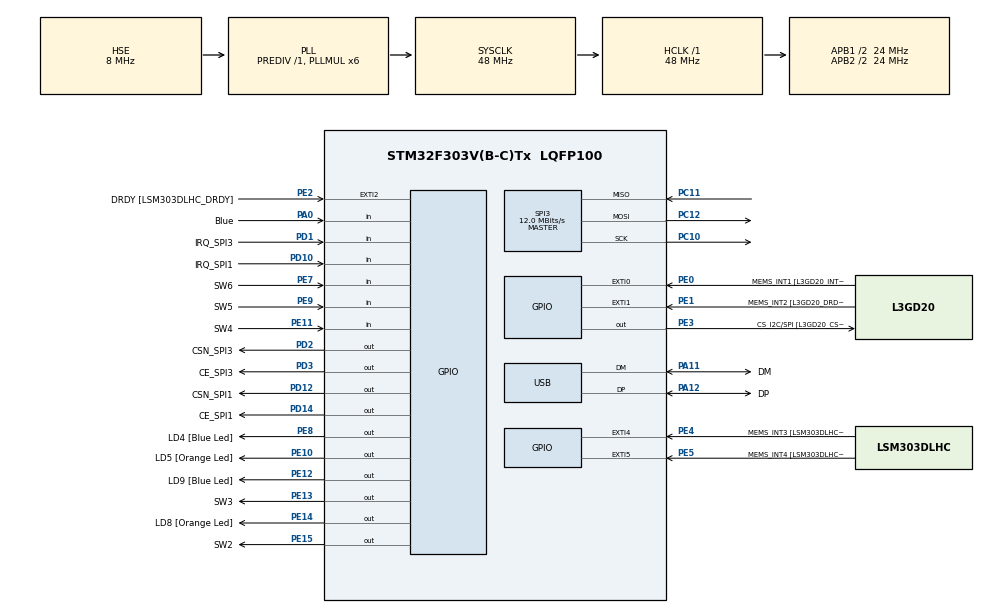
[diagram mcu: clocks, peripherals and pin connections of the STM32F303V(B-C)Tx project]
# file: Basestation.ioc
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Mcu.Family=STM32F3
Mcu.Name=STM32F303V(B-C)Tx
Mcu.Package=LQFP100
NVIC.PriorityGroup=NVIC_PRIORITYGROUP_0
NVIC.USB_LP_CAN_RX0_IRQn=true\:0\:0\:false\:false\:true\:true
PA0.GPIO_Label=Blue
PA0.Signal=GPIO_Input
PA11.GPIO_Label=DM
PA11.Mode=Device
PA11.Signal=USB_DM
PA12.GPIO_Label=DP
PA12.Mode=Device
PA12.Signal=USB_DP
PA13.GPIO_Label=SWDIO
PA13.Signal=SYS_JTMS-SWDIO
PA14.GPIO_Label=SWCLK
PA14.Signal=SYS_JTCK-SWCLK
PA5.GPIO_Label=SPI1_SCK [L3GD20_SCL/SPC]
PA5.GPIO_Mode=GPIO_MODE_AF_PP
PA5.GPIO_PuPd=GPIO_NOPULL
PA5.GPIO_Speed=GPIO_SPEED_FREQ_LOW
PA5.Signal=SPI1_SCK
PA6.GPIO_Label=SPI1_MISO [L3GD20_SA0/SDO]
PA6.GPIO_Mode=GPIO_MODE_AF_PP
PA6.GPIO_PuPd=GPIO_NOPULL
PA6.GPIO_Speed=GPIO_SPEED_FREQ_LOW
PA6.Signal=SPI1_MISO
PA7.GPIO_Label=SPI1_MOSI [L3GD20_SDA/SDI/SDO]
PA7.GPIO_Mode=GPIO_MODE_AF_PP
PA7.GPIO_PuPd=GPIO_NOPULL
PA7.GPIO_Speed=GPIO_SPEED_FREQ_LOW
PA7.Signal=SPI1_MOSI
PB3.GPIO_Label=SWO
PB3.Signal=SYS_JTDO-TRACESWO
PB6.GPIO_FM6=__NULL
PB6.GPIO_Label=I2C1_SCL [LSM303DLHC_SCL]
PB6.GPIO_Mode=GPIO_MODE_AF_OD
PB6.GPIO_PuPd=GPIO_NOPULL
PB6.GPIO_Speed=GPIO_SPEED_FREQ_LOW
PB6.Signal=I2C1_SCL
PB7.GPIO_FM7=__NULL
PB7.GPIO_Label=I2C1_SDA [LSM303DLHC_SDA]
PB7.GPIO_Mode=GPIO_MODE_AF_OD
PB7.GPIO_PuPd=GPIO_NOPULL
PB7.GPIO_Speed=GPIO_SPEED_FREQ_LOW
PB7.Signal=I2C1_SDA
PC10.Mode=Full_Duplex_Master
PC10.Signal=SPI3_SCK
PC11.Mode=Full_Duplex_Master
PC11.Signal=SPI3_MISO
PC12.Mode=Full_Duplex_Master
PC12.Signal=SPI3_MOSI
PC14-OSC32_IN.GPIO_Label=OSC32_IN
PC14-OSC32_IN.Signal=RCC_OSC32_IN
PC15-OSC32_OUT.GPIO_Label=OSC32_OUT
PC15-OSC32_OUT.Signal=RCC_OSC32_OUT
PD1.GPIO_Label=IRQ_SPI3
PD1.Signal=GPIO_Input
PD10.GPIO_Label=IRQ_SPI1
PD10.Signal=GPIO_Input
PD12.GPIO_Label=CSN_SPI1
PD12.Signal=GPIO_Output
PD14.GPIO_Label=CE_SPI1
PD14.Signal=GPIO_Output
PD2.GPIO_Label=CSN_SPI3
PD2.Signal=GPIO_Output
PD3.GPIO_Label=CE_SPI3
PD3.Signal=GPIO_Output
PE0.GPIO_Label=MEMS_INT1 [L3GD20_INT1]
PE0.GPIO_ModeDefaultEXTI=GPIO_MODE_EVT_RISING
PE0.GPIO_PuPd=GPIO_NOPULL
PE0.Signal=GPXTI0
PE1.GPIO_Label=MEMS_INT2 [L3GD20_DRDY/INT2]
PE1.GPIO_ModeDefaultEXTI=GPIO_MODE_EVT_RISING
PE1.GPIO_PuPd=GPIO_NOPULL
PE1.Signal=GPXTI1
PE10.GPIO_Label=LD5 [Orange Led]
PE10.GPIO_ModeDefaultOutputPP=GPIO_MODE_OUTPUT_PP
PE10.GPIO_PuPd=GPIO_NOPULL
PE10.GPIO_Speed=GPIO_SPEED_FREQ_LOW
PE10.Signal=GPIO_Output
PE11.GPIO_Label=SW4
PE11.Signal=GPIO_Input
PE12.GPIO_Label=LD9 [Blue Led]
PE12.GPIO_ModeDefaultOutputPP=GPIO_MODE_OUTPUT_PP
PE12.GPIO_PuPd=GPIO_NOPULL
PE12.GPIO_Speed=GPIO_SPEED_FREQ_LOW
PE12.Signal=GPIO_Output
PE13.GPIO_Label=SW3
PE13.GPIO_ModeDefaultOutputPP=GPIO_MODE_OUTPUT_PP
PE13.GPIO_PuPd=GPIO_NOPULL
PE13.GPIO_Speed=GPIO_SPEED_FREQ_LOW
PE13.Signal=GPIO_Output
PE14.GPIO_Label=LD8 [Orange Led]
PE14.GPIO_ModeDefaultOutputPP=GPIO_MODE_OUTPUT_PP
PE14.GPIO_PuPd=GPIO_NOPULL
PE14.GPIO_Speed=GPIO_SPEED_FREQ_LOW
PE14.Signal=GPIO_Output
PE15.GPIO_Label=SW2
PE15.GPIO_ModeDefaultOutputPP=GPIO_MODE_OUTPUT_PP
PE15.GPIO_PuPd=GPIO_NOPULL
PE15.GPIO_Speed=GPIO_SPEED_FREQ_LOW
PE15.Signal=GPIO_Output
PE2.GPIO_Label=DRDY [LSM303DLHC_DRDY]
PE2.GPIO_ModeDefaultEXTI=GPIO_MODE_EVT_RISING
PE2.GPIO_PuPd=GPIO_NOPULL
PE2.Signal=GPXTI2
PE3.GPIO_Label=CS_I2C/SPI [L3GD20_CS_I2C/SPI]
PE3.GPIO_ModeDefaultOutputPP=GPIO_MODE_OUTPUT_PP
PE3.GPIO_PuPd=GPIO_NOPULL
PE3.GPIO_Speed=GPIO_SPEED_FREQ_LOW
PE3.Signal=GPIO_Output
PE4.GPIO_Label=MEMS_INT3 [LSM303DLHC_INT1]
PE4.GPIO_ModeDefaultEXTI=GPIO_MODE_EVT_RISING
PE4.GPIO_PuPd=GPIO_NOPULL
PE4.Signal=GPXTI4
PE5.GPIO_Label=MEMS_INT4 [LSM303DLHC_INT2]
PE5.GPIO_ModeDefaultEXTI=GPIO_MODE_EVT_RISING
PE5.GPIO_PuPd=GPIO_NOPULL
PE5.Signal=GPXTI5
PE7.GPIO_Label=SW6
PE7.Signal=GPIO_Input
PE8.GPIO_Label=LD4 [Blue Led]
PE8.GPIO_ModeDefaultOutputPP=GPIO_MODE_OUTPUT_PP
PE8.GPIO_PuPd=GPIO_NOPULL
PE8.GPIO_Speed=GPIO_SPEED_FREQ_LOW
PE8.Signal=GPIO_Output
PE9.GPIO_Label=SW5
PE9.Signal=GPIO_Input
PF0-OSC_IN.GPIO_Label=OSC_IN
PF0-OSC_IN.Mode=HSE-External-Clock-Source
PF0-OSC_IN.Signal=RCC_OSC_IN
PF1-OSC_OUT.GPIO_Label=OSC_OUT
PF1-OSC_OUT.Signal=RCC_OSC_OUT
ProjectManager.HeapSize=0x200
ProjectManager.StackSize=0x400
ProjectManager.TargetToolchain=SW4STM32
RCC.AHBFreq_Value=48000000
RCC.APB1CLKDivider=RCC_HCLK_DIV2
RCC.APB1Freq_Value=24000000
RCC.APB1TimFreq_Value=48000000
RCC.APB2CLKDivider=RCC_HCLK_DIV2
RCC.APB2Freq_Value=24000000
RCC.APB2TimFreq_Value=48000000
RCC.CortexFreq_Value=48000000
RCC.HCLKFreq_Value=48000000
RCC.HSE_VALUE=8000000
RCC.HSI_VALUE=8000000
RCC.LSE_VALUE=32768
RCC.PLLMUL=RCC_PLL_MUL6
RCC.SYSCLKFreq_VALUE=48000000
RCC.SYSCLKSourceVirtual=RCC_SYSCLKSOURCE_PLLCLK
RCC.USBFreq_Value=48000000
SPI3.BaudRatePrescaler=SPI_BAUDRATEPRESCALER_2
SPI3.CalculateBaudRate=12.0 MBits/s
SPI3.DataSize=SPI_DATASIZE_8BIT
SPI3.Direction=SPI_DIRECTION_2LINES
SPI3.Mode=SPI_MODE_MASTER
SPI3.VirtualType=VM_MASTER
USB_DEVICE.CLASS_NAME_FS=CDC
USB_DEVICE.USBD_HandleTypeDef=hUsbDeviceFS
USB_DEVICE.VirtualMode=Cdc
USB_DEVICE.VirtualModeFS=Cdc_FS
VP_USB_DEVICE_VS_USB_DEVICE_CDC_FS.Mode=CDC_FS
board=STM32F3DISCOVERY

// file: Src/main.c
/**
  ******************************************************************************
  * @file           : main.c
  * @brief          : Main program body
  ******************************************************************************
  * This notice applies to any and all portions of this file
  * that are not between comment pairs USER CODE BEGIN and
  * USER CODE END. Other portions of this file, whether
  * inserted by the user or by software development tools
  * are owned by their respective copyright owners.
  *
  * Copyright (c) 2018 STMicroelectronics International N.V.
  * All rights reserved.
  *
  * Redistribution and use in source and binary forms, with or without
  * modification, are permitted, provided that the following conditions are met:
  *
  * 1. Redistribution of source code must retain the above copyright notice,
  *    this list of conditions and the following disclaimer.
  * 2. Redistributions in binary form must reproduce the above copyright notice,
  *    this list of conditions and the following disclaimer in the documentation
  *    and/or other materials provided with the distribution.
  * 3. Neither the name of STMicroelectronics nor the names of other
  *    contributors to this software may be used to endorse or promote products
  *    derived from this software without specific written permission.
  * 4. This software, including modifications and/or derivative works of this
  *    software, must execute solely and exclusively on microcontroller or
  *    microprocessor devices manufactured by or for STMicroelectronics.
  * 5. Redistribution and use of this software other than as permitted under
  *    this license is void and will automatically terminate your rights under
  *    this license.
  *
  * THIS SOFTWARE IS PROVIDED BY STMICROELECTRONICS AND CONTRIBUTORS "AS IS"
  * AND ANY EXPRESS, IMPLIED OR STATUTORY WARRANTIES, INCLUDING, BUT NOT
  * LIMITED TO, THE IMPLIED WARRANTIES OF MERCHANTABILITY, FITNESS FOR A
  * PARTICULAR PURPOSE AND NON-INFRINGEMENT OF THIRD PARTY INTELLECTUAL PROPERTY
  * RIGHTS ARE DISCLAIMED TO THE FULLEST EXTENT PERMITTED BY LAW. IN NO EVENT
  * SHALL STMICROELECTRONICS OR CONTRIBUTORS BE LIABLE FOR ANY DIRECT, INDIRECT,
  * INCIDENTAL, SPECIAL, EXEMPLARY, OR CONSEQUENTIAL DAMAGES (INCLUDING, BUT NOT
  * LIMITED TO, PROCUREMENT OF SUBSTITUTE GOODS OR SERVICES; LOSS OF USE, DATA,
  * OR PROFITS; OR BUSINESS INTERRUPTION) HOWEVER CAUSED AND ON ANY THEORY OF
  * LIABILITY, WHETHER IN CONTRACT, STRICT LIABILITY, OR TORT (INCLUDING
  * NEGLIGENCE OR OTHERWISE) ARISING IN ANY WAY OUT OF THE USE OF THIS SOFTWARE,
  * EVEN IF ADVISED OF THE POSSIBILITY OF SUCH DAMAGE.
  *
  ******************************************************************************
  */
#include "main.h"
#include "stm32f3xx_hal.h"
#include "spi.h"
#include "usb_device.h"
#include "gpio.h"

/* USER CODE BEGIN Includes */
#include "myNRF24.h"
#include "basestationNRF24.h"
#include "TextOut.h"
#include "packing.h"
#include "discoveryboard.h"

#include "packing.h"
#include "test_packing.h"
#include "test_packetSending.h"

/* USER CODE END Includes */

/* USER CODE BEGIN PV */
/* Private variables ---------------------------------------------------------*/

/* USER CODE END PV */

void SystemClock_Config(void);

/* USER CODE BEGIN PFP */
/* Private function prototypes -----------------------------------------------*/

/* USER CODE END PFP */

/* USER CODE BEGIN 0 */
void tacticsCommTestLoop() {
	roboData debugRoboData;
	uint8_t debugRoboPacket[ROBOPKTLEN];

	packetToRoboData(usbData, &debugRoboData);
/*	debugRoboData.id = 10; //robot 10
	debugRoboData.rho = 1;
	debugRoboData.theta = 2;
	debugRoboData.driving_reference = 0;
	debugRoboData.use_cam_info = 0;
	debugRoboData.velocity_angular = 4;
	debugRoboData.debug_info = !debugRoboData.debug_info;
	debugRoboData.do_kick = 1;
	debugRoboData.do_chip = 0;
	debugRoboData.kick_chip_forced = 1;
	debugRoboData.kick_chip_power = 0;
	debugRoboData.velocity_dribbler = 15;
	debugRoboData.geneva_drive_state = 3;
	debugRoboData.cam_position_x = 1;
	debugRoboData.cam_position_y = 2;
	debugRoboData.cam_rotation = 3;*/
	//sprintf(smallStrBuffer,"id: %i\n",debugRoboData.id);
	robotDataToPacket(&debugRoboData, debugRoboPacket);
	sendPacket(debugRoboPacket);

	//we need to know to which Robot the PC wanted to send.
	//we could convert the whole array to a RobotData struct,
	//but for performance reasons we just use bitshifting, implying our packet format.
	uint8_t robotToSendTo = usbData[0] >> 3;
	//getAndProcessAck(robotToSendTo);
	clearInterrupts();
	//HAL_Delay(10);

}

void dummyTestLoop() {
	roboData debugRoboData;
	uint8_t debugRoboPacket[ROBOPKTLEN];

	debugRoboData.id = 10; //robot 10
	debugRoboData.rho = 1;
	debugRoboData.theta = 2;
	debugRoboData.driving_reference = 0;
	debugRoboData.use_cam_info = 0;
	debugRoboData.velocity_angular = 4;
	debugRoboData.debug_info = !debugRoboData.debug_info;
	debugRoboData.do_kick = 1;
	debugRoboData.do_chip = 0;
	debugRoboData.kick_chip_forced = 1;
	debugRoboData.kick_chip_power = 0;
	debugRoboData.velocity_dribbler = 15;
	debugRoboData.geneva_drive_state = 3;
	debugRoboData.cam_position_x = 1;
	debugRoboData.cam_position_y = 2;
	debugRoboData.cam_rotation = 3;
	sprintf(smallStrBuffer,"id: %i\n",debugRoboData.id);
	robotDataToPacket(&debugRoboData, debugRoboPacket);
	sendPacket(debugRoboPacket);

	//we need to know to which Robot the PC wanted to send.
	//we could convert the whole array to a RobotData struct,
	//but for performance reasons we just use bitshifting, implying our packet format.
	uint8_t robotToSendTo = 10;
	getAndProcessAck(robotToSendTo);
	HAL_Delay(50);

}
/* USER CODE END 0 */

int main(void)
{

  /* MCU Configuration----------------------------------------------------------*/

  /* Reset of all peripherals, Initializes the Flash interface and the Systick. */
  HAL_Init();

  /* Configure the system clock */
  SystemClock_Config();

  /* Initialize all configured peripherals */
  MX_GPIO_Init();
  MX_SPI3_Init();
  MX_USB_DEVICE_Init();
  /* USER CODE BEGIN 2 */

	//Initializing the nRF module for wireless communication
	initBase(&hspi3, 78);
  /* USER CODE END 2 */

  /* Infinite loop */
  /* USER CODE BEGIN WHILE */

	//Apparently we need to wait about 20 seconds after connecting the bastation
	//Only then we would receive data without dropping anything.
	//This only applies to some systems (Ubuntu Linux) but not all (works on Windows without warm-up).

	HAL_Delay(1000);

	while (1)
	{
		//dummyTestLoop();
		if(usbLength == ROBOPKTLEN){
			tacticsCommTestLoop();
			usbLength = 0;
		}

  /* USER CODE END WHILE */

	}

}

void SystemClock_Config(void)
{

  RCC_OscInitTypeDef RCC_OscInitStruct;
  RCC_ClkInitTypeDef RCC_ClkInitStruct;
  RCC_PeriphCLKInitTypeDef PeriphClkInit;

    /**Initializes the CPU, AHB and APB busses clocks
    */
  RCC_OscInitStruct.OscillatorType = RCC_OSCILLATORTYPE_HSE;
  RCC_OscInitStruct.HSEState = RCC_HSE_BYPASS;
  RCC_OscInitStruct.HSEPredivValue = RCC_HSE_PREDIV_DIV1;
  RCC_OscInitStruct.HSIState = RCC_HSI_ON;
  RCC_OscInitStruct.PLL.PLLState = RCC_PLL_ON;
  RCC_OscInitStruct.PLL.PLLSource = RCC_PLLSOURCE_HSE;
  RCC_OscInitStruct.PLL.PLLMUL = RCC_PLL_MUL6;
  if (HAL_RCC_OscConfig(&RCC_OscInitStruct) != HAL_OK)
  {
    _Error_Handler(__FILE__, __LINE__);
  }

    /**Initializes the CPU, AHB and APB busses clocks
    */
  RCC_ClkInitStruct.ClockType = RCC_CLOCKTYPE_HCLK|RCC_CLOCKTYPE_SYSCLK
                              |RCC_CLOCKTYPE_PCLK1|RCC_CLOCKTYPE_PCLK2;
  RCC_ClkInitStruct.SYSCLKSource = RCC_SYSCLKSOURCE_PLLCLK;
  RCC_ClkInitStruct.AHBCLKDivider = RCC_SYSCLK_DIV1;
  RCC_ClkInitStruct.APB1CLKDivider = RCC_HCLK_DIV2;
  RCC_ClkInitStruct.APB2CLKDivider = RCC_HCLK_DIV2;

  if (HAL_RCC_ClockConfig(&RCC_ClkInitStruct, FLASH_LATENCY_1) != HAL_OK)
  {
    _Error_Handler(__FILE__, __LINE__);
  }

  PeriphClkInit.PeriphClockSelection = RCC_PERIPHCLK_USB;
  PeriphClkInit.USBClockSelection = RCC_USBCLKSOURCE_PLL;
  if (HAL_RCCEx_PeriphCLKConfig(&PeriphClkInit) != HAL_OK)
  {
    _Error_Handler(__FILE__, __LINE__);
  }

    /**Configure the Systick interrupt time
    */
  HAL_SYSTICK_Config(HAL_RCC_GetHCLKFreq()/1000);

    /**Configure the Systick
    */
  HAL_SYSTICK_CLKSourceConfig(SYSTICK_CLKSOURCE_HCLK);

  /* SysTick_IRQn interrupt configuration */
  HAL_NVIC_SetPriority(SysTick_IRQn, 0, 0);
}

void _Error_Handler(char *file, int line)
{
	while(1)
	{
	}
}

/************************ (C) COPYRIGHT STMicroelectronics *****END OF FILE****/
